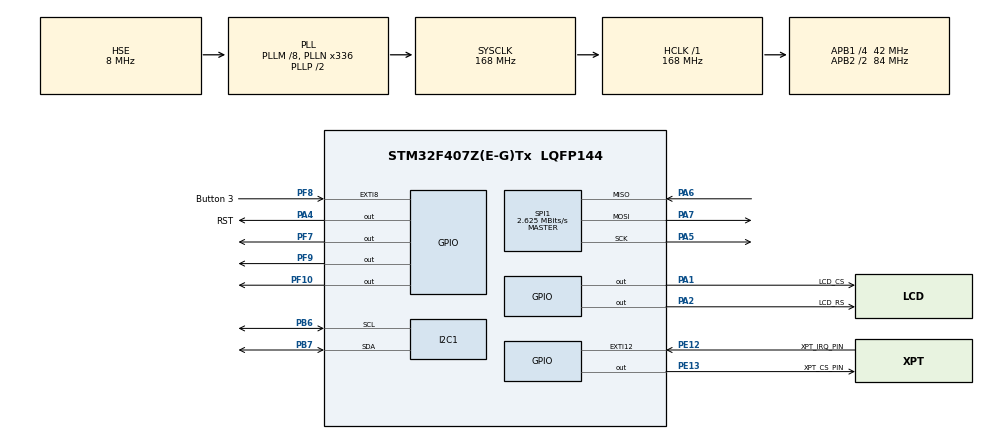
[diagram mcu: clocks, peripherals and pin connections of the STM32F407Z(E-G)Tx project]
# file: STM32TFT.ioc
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I2C1.I2C_Mode=I2C_Fast
Mcu.Family=STM32F4
Mcu.Name=STM32F407Z(E-G)Tx
Mcu.Package=LQFP144
NVIC.EXTI15_10_IRQn=true\:0\:0\:false\:false\:true\:true\:true
NVIC.EXTI9_5_IRQn=true\:0\:0\:false\:false\:true\:true\:true
NVIC.PriorityGroup=NVIC_PRIORITYGROUP_4
PA1.GPIO_Label=LCD_CS
PA1.GPIO_PuPd=GPIO_PULLUP
PA1.GPIO_Speed=GPIO_SPEED_FREQ_HIGH
PA1.PinState=GPIO_PIN_SET
PA1.Signal=GPIO_Output
PA13.Mode=Trace_Asynchronous_SW
PA13.Signal=SYS_JTMS-SWDIO
PA14.Mode=Trace_Asynchronous_SW
PA14.Signal=SYS_JTCK-SWCLK
PA2.GPIO_Label=LCD_RS
PA2.GPIO_Speed=GPIO_SPEED_FREQ_HIGH
PA2.Signal=GPIO_Output
PA4.GPIO_Label=RST
PA4.Signal=GPIO_Output
PA5.Mode=Full_Duplex_Master
PA5.Signal=SPI1_SCK
PA6.Mode=Full_Duplex_Master
PA6.Signal=SPI1_MISO
PA7.Mode=Full_Duplex_Master
PA7.Signal=SPI1_MOSI
PB3.Mode=Trace_Asynchronous_SW
PB3.Signal=SYS_JTDO-SWO
PB6.Mode=I2C
PB6.Signal=I2C1_SCL
PB7.Mode=I2C
PB7.Signal=I2C1_SDA
PE12.GPIO_Label=XPT_IRQ_PIN
PE12.GPIO_ModeDefaultEXTI=GPIO_MODE_IT_RISING_FALLING
PE12.GPIO_PuPd=GPIO_PULLUP
PE12.Signal=GPXTI12
PE13.GPIO_Label=XPT_CS_PIN
PE13.GPIO_PuPd=GPIO_PULLUP
PE13.GPIO_Speed=GPIO_SPEED_FREQ_HIGH
PE13.PinState=GPIO_PIN_SET
PE13.Signal=GPIO_Output
PF10.PinState=GPIO_PIN_SET
PF10.Signal=GPIO_Output
PF7.GPIO_PuPd=GPIO_PULLUP
PF7.GPIO_Speed=GPIO_SPEED_FREQ_HIGH
PF7.Signal=GPIO_Output
PF8.GPIO_Label=Button 3
PF8.GPIO_ModeDefaultEXTI=GPIO_MODE_IT_FALLING
PF8.GPIO_PuPd=GPIO_PULLUP
PF8.Signal=GPXTI8
PF9.PinState=GPIO_PIN_SET
PF9.Signal=GPIO_Output
PH0-OSC_IN.Mode=HSE-External-Oscillator
PH0-OSC_IN.Signal=RCC_OSC_IN
PH1-OSC_OUT.Mode=HSE-External-Oscillator
PH1-OSC_OUT.Signal=RCC_OSC_OUT
ProjectManager.HeapSize=0x200
ProjectManager.StackSize=0x400
ProjectManager.TargetToolchain=STM32CubeIDE
RCC.48MHZClocksFreq_Value=48000000
RCC.AHBFreq_Value=168000000
RCC.APB1CLKDivider=RCC_HCLK_DIV4
RCC.APB1Freq_Value=42000000
RCC.APB1TimFreq_Value=84000000
RCC.APB2CLKDivider=RCC_HCLK_DIV2
RCC.APB2Freq_Value=84000000
RCC.APB2TimFreq_Value=168000000
RCC.CortexFreq_Value=168000000
RCC.HCLKFreq_Value=168000000
RCC.HSE_VALUE=8000000
RCC.HSI_VALUE=16000000
RCC.LSE_VALUE=32768
RCC.PLLM=8
RCC.PLLN=336
RCC.PLLQ=7
RCC.PLLSourceVirtual=RCC_PLLSOURCE_HSE
RCC.SYSCLKFreq_VALUE=168000000
RCC.SYSCLKSource=RCC_SYSCLKSOURCE_PLLCLK
RCC.VCOOutputFreq_Value=336000000
SPI1.BaudRatePrescaler=SPI_BAUDRATEPRESCALER_32
SPI1.CalculateBaudRate=2.625 MBits/s
SPI1.DataSize=SPI_DATASIZE_8BIT
SPI1.Direction=SPI_DIRECTION_2LINES
SPI1.Mode=SPI_MODE_MASTER
SPI1.VirtualType=VM_MASTER
VP_RNG_VS_RNG.Mode=RNG_Activate
board=custom

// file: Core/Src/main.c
/* USER CODE BEGIN Header */
/**
  ******************************************************************************
  * @file           : main.c
  * @brief          : Main program body
  ******************************************************************************
  * @attention
  *
  * <h2><center>&copy; Copyright (c) 2020 STMicroelectronics.
  * All rights reserved.</center></h2>
  *
  * This software component is licensed by ST under BSD 3-Clause license,
  * the "License"; You may not use this file except in compliance with the
  * License. You may obtain a copy of the License at:
  *                        opensource.org/licenses/BSD-3-Clause
  *
  ******************************************************************************
  */
/* USER CODE END Header */

#include "main.h"

/* USER CODE BEGIN Includes */
#include "../Lib/xpt/XPT2046_touch.h"
//#include "../Lib/ili9341/ili9341.h"
#include "../Lib/ili9341_v2/ILI9341_STM32_Driver.h"
#include "../Lib/ili9341_v2/ILI9341_GFX.h"
#include "../Lib/bme280/bmp280.h"
//#include "../Lib/ili9341_v2/snow_tiger.h"
#include "../Lib/ili9341_v2/math.h"
//#include "../Lib/ili9341_v2/1231.c"
//#include "../Lib/ili9341_v2/fonts/font_Nunito.h"
/* USER CODE END Includes */

I2C_HandleTypeDef hi2c1;

RNG_HandleTypeDef hrng;

SPI_HandleTypeDef hspi1;

/* USER CODE BEGIN PV */
BMP280_HandleTypedef bmp280;

float pressure, temperature, humidity;

uint16_t size;
uint8_t Data[256];

bool displayShow = true;
/* USER CODE END PV */

void SystemClock_Config(void);
static void MX_GPIO_Init(void);
static void MX_SPI1_Init(void);
static void MX_RNG_Init(void);
static void MX_I2C1_Init(void);

/* USER CODE BEGIN 0 */
void HAL_GPIO_EXTI_Callback	(uint16_t GPIO_Pin)
{
	HAL_GPIO_TogglePin(GPIOF, GPIO_PIN_9);
}

void initDisplay()
{
	  ILI9341_V2_Init();
	  ILI9341_DrawImage(0, 0, 240, 320, snow_tiger1);
	  ILI9341_Set_Rotation(SCREEN_HORIZONTAL_2);
}

/* USER CODE END 0 */

int main(void)
{

  /* MCU Configuration--------------------------------------------------------*/

  /* Reset of all peripherals, Initializes the Flash interface and the Systick. */
  HAL_Init();

  /* Configure the system clock */
  SystemClock_Config();

  /* Initialize all configured peripherals */
  MX_GPIO_Init();
  MX_SPI1_Init();
  MX_RNG_Init();
  MX_I2C1_Init();
  /* USER CODE BEGIN 2 */
  //V1
//  ILI9341_Init();
//  HAL_Delay(1000);
//  ILI9341_FillScreen(ILI9341_BLACK);
//  ILI9341_WriteString(0, 0, "some text", Font_16x26, ILI9341_WHITE, ILI9341_BLACK);
//  ILI9341_WriteString(0, 0, "some text", Font_16x26, ILI9341_RED, ILI9341_BLACK);
//  ILI9341_WriteString(0, 0, "1", Font_16x26, ILI9341_RED, ILI9341_BLACK);
  //V2
  if (displayShow) {
	  initDisplay();
	  bmp280_init_default_params(&bmp280.params);
	    bmp280.addr = BMP280_I2C_ADDRESS_0;
	    bmp280.i2c = &hi2c1;
	    while (!bmp280_init(&bmp280, &bmp280.params)) {
	    		size = sprintf((char *)Data, "BMP280 initialization failed\n");
	    		ILI9341_Draw_Text(Data, 0, 0, RED, 10, BLACK);
	  //  		HAL_UART_Transmit(&huart1, Data, size, 1000);
	    		HAL_Delay(2000);
	    }
	    bool bme280p = bmp280.id == BME280_CHIP_ID;
	    size = sprintf((char *)Data, "BMP280: found %s\n", bme280p ? "BME280" : "BMP280");
	    ILI9341_Draw_Text(Data, 0, 0, RED, 1, BLACK);
  }

  /* USER CODE END 2 */

  /* Infinite loop */
  /* USER CODE BEGIN WHILE */
//  ILI9341_Draw_Hollow_Circle(100, 100, 50, RED);
//  ILI9341_Draw_Hollow_Circle(200, 200, 50, GREEN);
  while (1)
  {

//	  ILI9341_Draw_Hollow_Circle(100, 100, 50, RED);
//	  if (XPT2046_TouchPressed()) {
//  		  uint16_t x = 0;
//  		  uint16_t y = 0;
//  		  XPT2046_TouchGetCoordinates(&x, &y);
//  		  if (x > 0 || y > 0 || x < 0 || y < 0) {
//  			ILI9341_Draw_Hollow_Circle(x, y, 50, BLUE);
//  		  }
//	  }
	  //V1
//	  HAL_Delay(500);
//	  if (XPT2046_TouchPressed()) {
//		  HAL_GPIO_WritePin(GPIOF, GPIO_PIN_9, GPIO_PIN_RESET);
//		  uint16_t x = 0;
//		  uint16_t y = 0;
//		  XPT2046_TouchGetCoordinates(&x, &y);
//		  if (x > 0 || y > 0 || x < 0 || y < 0) {
//			  ILI9341_Draw_Hollow_Circle(x, y, 50, BLUE);
//			  HAL_GPIO_WritePin(GPIOF, GPIO_PIN_10, GPIO_PIN_RESET);
//		  } else {
//			  HAL_GPIO_WritePin(GPIOF, GPIO_PIN_10, GPIO_PIN_SET);
//		  }
//		  printf("%d %d", x, y);
//	  } else {
//		  HAL_GPIO_WritePin(GPIOF, GPIO_PIN_9, GPIO_PIN_SET);
//		  HAL_GPIO_WritePin(GPIOF, GPIO_PIN_10, GPIO_PIN_SET);
//	  }
	  if (displayShow) {
		  HAL_Delay(100);
		  while (!bmp280_read_float(&bmp280, &temperature, &pressure, &humidity)) {
			  size = sprintf((char *)Data,
					  "Temperature/pressure reading failed\n");
			  ILI9341_Draw_Text(Data, 0, 0, RED, 1, BLACK);
			  HAL_Delay(2000);
		  }

		  uint8_t temp_s[256];
		  uint8_t pressure_s[256];
		  uint8_t humidity_s[256];

		  sprintf((char *)temp_s,"Температура: %.2f C", temperature);
		  sprintf((char *)pressure_s,"Pressure: %.2f Pa", pressure);
		  sprintf((char *)humidity_s,"Humidity: %.2f", humidity);

		  ILI9341_Draw_Text(temp_s, 0, 0, RED, 1, BLACK);
		  ILI9341_Draw_Text(pressure_s, 0, 20, RED, 1, BLACK);
		  ILI9341_Draw_Text(humidity_s, 0, 40, RED, 1, BLACK);
		  HAL_Delay(2000);
	  }

    /* USER CODE END WHILE */

  }
}

void SystemClock_Config(void)
{
  RCC_OscInitTypeDef RCC_OscInitStruct = {0};
  RCC_ClkInitTypeDef RCC_ClkInitStruct = {0};

  /** Configure the main internal regulator output voltage
  */
  __HAL_RCC_PWR_CLK_ENABLE();
  __HAL_PWR_VOLTAGESCALING_CONFIG(PWR_REGULATOR_VOLTAGE_SCALE1);
  /** Initializes the CPU, AHB and APB busses clocks
  */
  RCC_OscInitStruct.OscillatorType = RCC_OSCILLATORTYPE_HSE;
  RCC_OscInitStruct.HSEState = RCC_HSE_ON;
  RCC_OscInitStruct.PLL.PLLState = RCC_PLL_ON;
  RCC_OscInitStruct.PLL.PLLSource = RCC_PLLSOURCE_HSE;
  RCC_OscInitStruct.PLL.PLLM = 8;
  RCC_OscInitStruct.PLL.PLLN = 336;
  RCC_OscInitStruct.PLL.PLLP = RCC_PLLP_DIV2;
  RCC_OscInitStruct.PLL.PLLQ = 7;
  if (HAL_RCC_OscConfig(&RCC_OscInitStruct) != HAL_OK)
  {
    Error_Handler();
  }
  /** Initializes the CPU, AHB and APB busses clocks
  */
  RCC_ClkInitStruct.ClockType = RCC_CLOCKTYPE_HCLK|RCC_CLOCKTYPE_SYSCLK
                              |RCC_CLOCKTYPE_PCLK1|RCC_CLOCKTYPE_PCLK2;
  RCC_ClkInitStruct.SYSCLKSource = RCC_SYSCLKSOURCE_PLLCLK;
  RCC_ClkInitStruct.AHBCLKDivider = RCC_SYSCLK_DIV1;
  RCC_ClkInitStruct.APB1CLKDivider = RCC_HCLK_DIV4;
  RCC_ClkInitStruct.APB2CLKDivider = RCC_HCLK_DIV2;

  if (HAL_RCC_ClockConfig(&RCC_ClkInitStruct, FLASH_LATENCY_5) != HAL_OK)
  {
    Error_Handler();
  }
}

static void MX_I2C1_Init(void)
{

  hi2c1.Instance = I2C1;
  hi2c1.Init.ClockSpeed = 400000;
  hi2c1.Init.DutyCycle = I2C_DUTYCYCLE_2;
  hi2c1.Init.OwnAddress1 = 0;
  hi2c1.Init.AddressingMode = I2C_ADDRESSINGMODE_7BIT;
  hi2c1.Init.DualAddressMode = I2C_DUALADDRESS_DISABLE;
  hi2c1.Init.OwnAddress2 = 0;
  hi2c1.Init.GeneralCallMode = I2C_GENERALCALL_DISABLE;
  hi2c1.Init.NoStretchMode = I2C_NOSTRETCH_DISABLE;
  if (HAL_I2C_Init(&hi2c1) != HAL_OK)
  {
    Error_Handler();
  }

}

static void MX_RNG_Init(void)
{

  hrng.Instance = RNG;
  if (HAL_RNG_Init(&hrng) != HAL_OK)
  {
    Error_Handler();
  }

}

static void MX_SPI1_Init(void)
{

  /* SPI1 parameter configuration*/
  hspi1.Instance = SPI1;
  hspi1.Init.Mode = SPI_MODE_MASTER;
  hspi1.Init.Direction = SPI_DIRECTION_2LINES;
  hspi1.Init.DataSize = SPI_DATASIZE_8BIT;
  hspi1.Init.CLKPolarity = SPI_POLARITY_LOW;
  hspi1.Init.CLKPhase = SPI_PHASE_1EDGE;
  hspi1.Init.NSS = SPI_NSS_SOFT;
  hspi1.Init.BaudRatePrescaler = SPI_BAUDRATEPRESCALER_32;
  hspi1.Init.FirstBit = SPI_FIRSTBIT_MSB;
  hspi1.Init.TIMode = SPI_TIMODE_DISABLE;
  hspi1.Init.CRCCalculation = SPI_CRCCALCULATION_DISABLE;
  hspi1.Init.CRCPolynomial = 10;
  if (HAL_SPI_Init(&hspi1) != HAL_OK)
  {
    Error_Handler();
  }

}

static void MX_GPIO_Init(void)
{
  GPIO_InitTypeDef GPIO_InitStruct = {0};

  /* GPIO Ports Clock Enable */
  __HAL_RCC_GPIOF_CLK_ENABLE();
  __HAL_RCC_GPIOH_CLK_ENABLE();
  __HAL_RCC_GPIOA_CLK_ENABLE();
  __HAL_RCC_GPIOE_CLK_ENABLE();
  __HAL_RCC_GPIOB_CLK_ENABLE();

  /*Configure GPIO pin Output Level */
  HAL_GPIO_WritePin(GPIOF, GPIO_PIN_7, GPIO_PIN_RESET);

  /*Configure GPIO pin Output Level */
  HAL_GPIO_WritePin(GPIOF, GPIO_PIN_9|GPIO_PIN_10, GPIO_PIN_SET);

  /*Configure GPIO pin Output Level */
  HAL_GPIO_WritePin(LCD_CS_GPIO_Port, LCD_CS_Pin, GPIO_PIN_SET);

  /*Configure GPIO pin Output Level */
  HAL_GPIO_WritePin(GPIOA, LCD_RS_Pin|RST_Pin, GPIO_PIN_RESET);

  /*Configure GPIO pin Output Level */
  HAL_GPIO_WritePin(XPT_CS_PIN_GPIO_Port, XPT_CS_PIN_Pin, GPIO_PIN_SET);

  /*Configure GPIO pin : PF7 */
  GPIO_InitStruct.Pin = GPIO_PIN_7;
  GPIO_InitStruct.Mode = GPIO_MODE_OUTPUT_PP;
  GPIO_InitStruct.Pull = GPIO_PULLUP;
  GPIO_InitStruct.Speed = GPIO_SPEED_FREQ_HIGH;
  HAL_GPIO_Init(GPIOF, &GPIO_InitStruct);

  /*Configure GPIO pin : Button_3_Pin */
  GPIO_InitStruct.Pin = Button_3_Pin;
  GPIO_InitStruct.Mode = GPIO_MODE_IT_FALLING;
  GPIO_InitStruct.Pull = GPIO_PULLUP;
  HAL_GPIO_Init(Button_3_GPIO_Port, &GPIO_InitStruct);

  /*Configure GPIO pins : PF9 PF10 */
  GPIO_InitStruct.Pin = GPIO_PIN_9|GPIO_PIN_10;
  GPIO_InitStruct.Mode = GPIO_MODE_OUTPUT_PP;
  GPIO_InitStruct.Pull = GPIO_NOPULL;
  GPIO_InitStruct.Speed = GPIO_SPEED_FREQ_LOW;
  HAL_GPIO_Init(GPIOF, &GPIO_InitStruct);

  /*Configure GPIO pin : LCD_CS_Pin */
  GPIO_InitStruct.Pin = LCD_CS_Pin;
  GPIO_InitStruct.Mode = GPIO_MODE_OUTPUT_PP;
  GPIO_InitStruct.Pull = GPIO_PULLUP;
  GPIO_InitStruct.Speed = GPIO_SPEED_FREQ_HIGH;
  HAL_GPIO_Init(LCD_CS_GPIO_Port, &GPIO_InitStruct);

  /*Configure GPIO pin : LCD_RS_Pin */
  GPIO_InitStruct.Pin = LCD_RS_Pin;
  GPIO_InitStruct.Mode = GPIO_MODE_OUTPUT_PP;
  GPIO_InitStruct.Pull = GPIO_NOPULL;
  GPIO_InitStruct.Speed = GPIO_SPEED_FREQ_HIGH;
  HAL_GPIO_Init(LCD_RS_GPIO_Port, &GPIO_InitStruct);

  /*Configure GPIO pin : RST_Pin */
  GPIO_InitStruct.Pin = RST_Pin;
  GPIO_InitStruct.Mode = GPIO_MODE_OUTPUT_PP;
  GPIO_InitStruct.Pull = GPIO_NOPULL;
  GPIO_InitStruct.Speed = GPIO_SPEED_FREQ_LOW;
  HAL_GPIO_Init(RST_GPIO_Port, &GPIO_InitStruct);

  /*Configure GPIO pin : XPT_IRQ_PIN_Pin */
  GPIO_InitStruct.Pin = XPT_IRQ_PIN_Pin;
  GPIO_InitStruct.Mode = GPIO_MODE_IT_RISING_FALLING;
  GPIO_InitStruct.Pull = GPIO_PULLUP;
  HAL_GPIO_Init(XPT_IRQ_PIN_GPIO_Port, &GPIO_InitStruct);

  /*Configure GPIO pin : XPT_CS_PIN_Pin */
  GPIO_InitStruct.Pin = XPT_CS_PIN_Pin;
  GPIO_InitStruct.Mode = GPIO_MODE_OUTPUT_PP;
  GPIO_InitStruct.Pull = GPIO_PULLUP;
  GPIO_InitStruct.Speed = GPIO_SPEED_FREQ_HIGH;
  HAL_GPIO_Init(XPT_CS_PIN_GPIO_Port, &GPIO_InitStruct);

  /* EXTI interrupt init*/
  HAL_NVIC_SetPriority(EXTI9_5_IRQn, 0, 0);
  HAL_NVIC_EnableIRQ(EXTI9_5_IRQn);

  HAL_NVIC_SetPriority(EXTI15_10_IRQn, 0, 0);
  HAL_NVIC_EnableIRQ(EXTI15_10_IRQn);

}

void Error_Handler(void)
{
}

/************************ (C) COPYRIGHT STMicroelectronics *****END OF FILE****/
